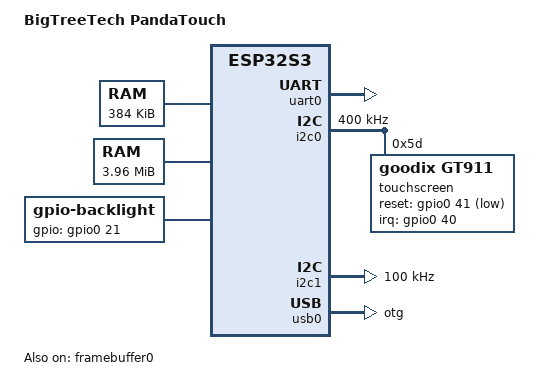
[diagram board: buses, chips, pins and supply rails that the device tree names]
// SPDX-License-Identifier: GPL-2.0
/*
 * Device Tree for BigTreeTech PandaTouch
 *
 * SoC:     ESP32-S3 (Xtensa LX7 @ 240 MHz, dual-core)
 * Flash:   8 MB (QIO, 80 MHz) – XIP for kernel
 * PSRAM:   8 MB Octal (OPI, 80 MHz) – main RAM + framebuffer
 * Display: 800×480 RGB565 parallel LCD (DE mode, PCLK = 14.8 MHz)
 * Touch:   Goodix GT911, I²C0 @ 0x5D, 400 kHz
 * USB:     Native USB OTG (D−=GPIO19, D+=GPIO20)
 * Console: UART0 (TXD=GPIO43, RXD=GPIO44)
 *
 * Memory layout (PSRAM, 0x3C000000 base):
 *   0x3C000000 – 0x3C0BB7FF  framebuffer  (800 × 480 × 2 = 768 000 B)
 *   0x3C0BB800 – 0x3FFFFFFF  Linux RAM    (~7.25 MB available)
 *
 * The lcd-init ESP-IDF application (see esp32s3-linux/lcd-init/) must be
 * flashed and executed before Linux boots.  It initialises the LCD_CAM
 * RGB peripheral and keeps it scanning out from the PSRAM framebuffer.
 * After initialisation it chains to the esp-hosted network_adapter
 * firmware which in turn loads and starts the Linux kernel.
 */

/dts-v1/;

#include "esp32s3.dtsi"
#include <dt-bindings/gpio/gpio.h>
#include <dt-bindings/interrupt-controller/irq.h>
#include <dt-bindings/input/input.h>

/ {
	model = "BigTreeTech PandaTouch";
	compatible = "bigtreetech,pandatouch", "espressif,esp32s3";

	chosen {
		/*
		 * earlycon uses the ESP32-S3 UART0 debug port.
		 * root=mtd:rootfs  – cramfs squished rootfs flashed to the
		 *                    "rootfs" SPI-NOR partition.
		 * fbcon=map:0      – attach virtual console to fb0.
		 */
		bootargs = "console=ttyS0,115200n8 earlycon=esp32uart,mmio32,0x60000000 root=mtd:rootfs rootfstype=cramfs ro loglevel=7 fbcon=map:0";
		stdout-path = "serial0:115200n8";
	};

	aliases {
		serial0 = &uart0;
		i2c0    = &i2c0;
		i2c1    = &i2c1;
	};

	/*
	 * Internal SRAM – used by the kernel for critical / DMA buffers.
	 * The exact usable window depends on ROM reservations; ~400 KB is
	 * a conservative estimate for ESP32-S3 rev 3+.
	 */
	memory@3fc80000 {
		device_type = "memory";
		reg = <0x3fc80000 0x60000>;
	};

	/*
	 * External PSRAM – primary Linux RAM.
	 * The first 768 KB (0xBB800) is reserved for the framebuffer and
	 * must NOT be handed to the kernel allocator.
	 */
	memory@3c0bb800 {
		device_type = "memory";
		reg = <0x3c0bb800 0x3f4800>;
	};

	/*
	 * Simple framebuffer
	 * -----------------
	 * The lcd-init application allocates exactly 800 × 480 × 2 bytes
	 * at the start of PSRAM (0x3C000000) and configures the LCD_CAM
	 * DMA engine to scan it out continuously.  The kernel sees this as
	 * a 16-bit RGB565 framebuffer device (/dev/fb0) without needing any
	 * knowledge of the LCD_CAM hardware registers.
	 */
	framebuffer0: framebuffer@3c000000 {
		compatible = "simple-framebuffer";
		reg = <0x3c000000 0x000bb800>;
		width  = <800>;
		height = <480>;
		stride = <1600>;	/* 800 px × 2 bytes/px */
		format = "r5g6b5";
		status = "okay";
	};

	/*
	 * Backlight – GPIO21 driven HIGH enables the LCD backlight power
	 * rail.  Linux leaves the backlight fully on at boot; userspace can
	 * implement PWM dimming via sysfs if a GPIO-PWM driver is loaded.
	 */
	backlight: backlight {
		compatible = "gpio-backlight";
		gpios = <&gpio0 21 GPIO_ACTIVE_HIGH>;
		default-on;
	};
};

/* ── UART0: kernel console ─────────────────────────────────────────────── */
&uart0 {
	status = "okay";
};

/* ── I²C0: Goodix GT911 touch controller ───────────────────────────────── */
/*
 * GT911 I²C address: 0x5D when ADDR pin is pulled LOW (default on PandaTouch).
 * Interrupt: falling-edge on GPIO40 (open-drain, active-low).
 * Reset:     active-low on GPIO41.
 */
&i2c0 {
	status = "okay";
	clock-frequency = <400000>;

	touchscreen: gt911@5d {
		compatible = "goodix,gt911";
		reg = <0x5d>;

		interrupt-parent = <&gpio0>;
		interrupts = <40 IRQ_TYPE_EDGE_FALLING>;
		reset-gpios   = <&gpio0 41 GPIO_ACTIVE_LOW>;
		irq-gpios     = <&gpio0 40 IRQ_TYPE_EDGE_FALLING>;

		touchscreen-size-x = <800>;
		touchscreen-size-y = <480>;
		status = "okay";
	};
};

/* ── I²C1: Expansion header (P2) ───────────────────────────────────────── */
&i2c1 {
	status = "okay";
	clock-frequency = <100000>;
};

/*
 * ── USB OTG ─────────────────────────────────────────────────────────────
 * D−: GPIO19 / D+: GPIO20 (native ESP32-S3 USB PHY, routed to USB-A port)
 * In "otg" mode Linux can switch between host and peripheral at runtime.
 * When acting as host, attach a USB thumb drive for larger rootfs.
 */
&usb0 {
	dr_mode = "otg";
	status = "okay";
};
